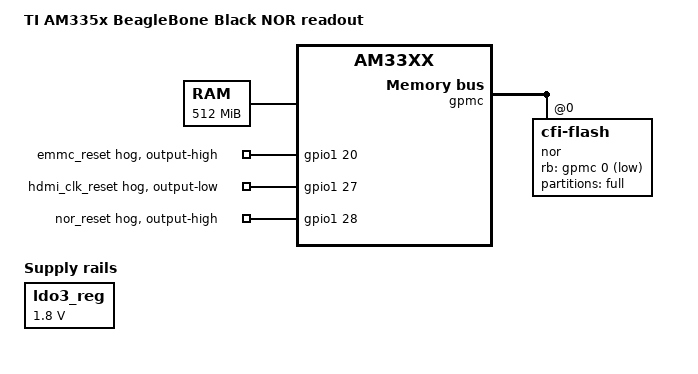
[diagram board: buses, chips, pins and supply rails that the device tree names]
// SPDX-License-Identifier: GPL-2.0-only
/*
 * Copyright (C) 2012 Texas Instruments Incorporated - https://www.ti.com/
 */
/dts-v1/;

#include "am33xx.dtsi"
#include "am335x-bone-common.dtsi"
/* #include "am335x-boneblack-common.dtsi" */
/* #include "am335x-boneblack-hdmi.dtsi" */

&ldo3_reg {
	regulator-min-microvolt = <1800000>;
	regulator-max-microvolt = <1800000>;
	regulator-always-on;
};


/ {
	model = "TI AM335x BeagleBone Black NOR readout";
	compatible = "ti,am335x-bone-black", "ti,am335x-bone", "ti,am33xx";

	memory@80000000 {
		device_type = "memory";
		reg = <0x80000000 0x20000000>; /* 512 MB */
	};
};

&cpu0_opp_table {
	/*
	 * All PG 2.0 silicon may not support 1GHz but some of the early
	 * BeagleBone Blacks have PG 2.0 silicon which is guaranteed
	 * to support 1GHz OPP so enable it for PG 2.0 on this board.
	 */
	opp-1000000000 {
		/* OPP Nitro */
		opp-supported-hw = <0x06 0x0100>;
	};
};

&gpio0 {
	gpio-line-names =
		"[mdio_data]",
		"[mdio_clk]",
		"P9_22 [spi0_sclk]",
		"P9_21 [spi0_d0]",
		"P9_18 [spi0_d1]",
		"P9_17 [spi0_cs0]",
		"[mmc0_cd]",
		"P8_42A [ecappwm0]",
		"P8_35 [lcd d12]",
		"P8_33 [lcd d13]",
		"P8_31 [lcd d14]",
		"P8_32 [lcd d15]",
		"P9_20 [i2c2_sda]",
		"P9_19 [i2c2_scl]",
		"P9_26 [uart1_rxd]",
		"P9_24 [uart1_txd]",
		"[rmii1_txd3]",
		"[rmii1_txd2]",
		"[usb0_drvvbus]",
		"[hdmi cec]",
		"P9_41B",
		"[rmii1_txd1]",
		"P8_19 [ehrpwm2a]",
		"P8_13 [ehrpwm2b]",
		"NC",
		"NC",
		"P8_14",
		"P8_17",
		"[rmii1_txd0]",
		"[rmii1_refclk]",
		"P9_11 [uart4_rxd]",
		"P9_13 [uart4_txd]";
};

&gpio1 {
	gpio-line-names =
		"P8_25 [mmc1_dat0]",
		"[mmc1_dat1]",
		"P8_5 [mmc1_dat2]",
		"P8_6 [mmc1_dat3]",
		"P8_23 [mmc1_dat4]",
		"P8_22 [mmc1_dat5]",
		"P8_3 [mmc1_dat6]",
		"P8_4 [mmc1_dat7]",
		"NC",
		"NC",
		"NC",
		"NC",
		"P8_12",
		"P8_11",
		"P8_16",
		"P8_15",
		"P9_15A",
		"P9_23",
		"P9_14 [ehrpwm1a]",
		"P9_16 [ehrpwm1b]",
		"[emmc rst]",
		"[usr0 led]",
		"[usr1 led]",
		"[usr2 led]",
		"[usr3 led]",
		"[hdmi irq]",
		"[usb vbus oc]",
		"[hdmi audio]",
		"P9_12",
		"P8_26",
		"P8_21 [emmc]",
		"P8_20 [emmc]";
};

&gpio2 {
	gpio-line-names =
		"P9_15B",
		"P8_18",
		"P8_7",
		"P8_8",
		"P8_10",
		"P8_9",
		"P8_45 [hdmi]",
		"P8_46 [hdmi]",
		"P8_43 [hdmi]",
		"P8_44 [hdmi]",
		"P8_41 [hdmi]",
		"P8_42 [hdmi]",
		"P8_39 [hdmi]",
		"P8_40 [hdmi]",
		"P8_37 [hdmi]",
		"P8_38 [hdmi]",
		"P8_36 [hdmi]",
		"P8_34 [hdmi]",
		"[rmii1_rxd3]",
		"[rmii1_rxd2]",
		"[rmii1_rxd1]",
		"[rmii1_rxd0]",
		"P8_27 [hdmi]",
		"P8_29 [hdmi]",
		"P8_28 [hdmi]",
		"P8_30 [hdmi]",
		"[mmc0_dat3]",
		"[mmc0_dat2]",
		"[mmc0_dat1]",
		"[mmc0_dat0]",
		"[mmc0_clk]",
		"[mmc0_cmd]";
};

&gpio3 {
	gpio-line-names =
		"[mii col]",
		"[mii crs]",
		"[mii rx err]",
		"[mii tx en]",
		"[mii rx dv]",
		"[i2c0 sda]",
		"[i2c0 scl]",
		"[jtag emu0]",
		"[jtag emu1]",
		"[mii tx clk]",
		"[mii rx clk]",
		"NC",
		"NC",
		"[usb vbus en]",
		"P9_31 [spi1_sclk]",
		"P9_29 [spi1_d0]",
		"P9_30 [spi1_d1]",
		"P9_28 [spi1_cs0]",
		"P9_42B [ecappwm0]",
		"P9_27",
		"P9_41A",
		"P9_25",
		"NC",
		"NC",
		"NC",
		"NC",
		"NC",
		"NC",
		"NC",
		"NC",
		"NC",
		"NC";
};

&baseboard_eeprom {
	vcc-supply = <&ldo4_reg>;
};

&mmc1 {
	status = "disabled";
};

&mmc2 {
	status = "disabled";
};

&am33xx_pinmux {
	gpmc_pins: gmpc_pins {
		pinctrl-single,pins = <
			/* hdmi pins as GPMC_A0-15 */
			AM33XX_PADCONF(AM335X_PIN_LCD_DATA0, PIN_OUTPUT, MUX_MODE1)  /* a0 - NC */
			AM33XX_PADCONF(AM335X_PIN_LCD_DATA1, PIN_OUTPUT, MUX_MODE1)
			AM33XX_PADCONF(AM335X_PIN_LCD_DATA2, PIN_OUTPUT, MUX_MODE1)
			AM33XX_PADCONF(AM335X_PIN_LCD_DATA3, PIN_OUTPUT, MUX_MODE1)
			AM33XX_PADCONF(AM335X_PIN_LCD_DATA4, PIN_OUTPUT, MUX_MODE1)
			AM33XX_PADCONF(AM335X_PIN_LCD_DATA5, PIN_OUTPUT, MUX_MODE1)
			AM33XX_PADCONF(AM335X_PIN_LCD_DATA6, PIN_OUTPUT, MUX_MODE1)
			AM33XX_PADCONF(AM335X_PIN_LCD_DATA7, PIN_OUTPUT, MUX_MODE1)  /* a7 */
			AM33XX_PADCONF(AM335X_PIN_LCD_DATA8, PIN_OUTPUT, MUX_MODE1)  /* a12 */
			AM33XX_PADCONF(AM335X_PIN_LCD_DATA9, PIN_OUTPUT, MUX_MODE1)  /* a13 */
			AM33XX_PADCONF(AM335X_PIN_LCD_DATA10, PIN_OUTPUT, MUX_MODE1) /* a14 */
			AM33XX_PADCONF(AM335X_PIN_LCD_DATA11, PIN_OUTPUT, MUX_MODE1) /* a15 */
			AM33XX_PADCONF(AM335X_PIN_LCD_DATA12, PIN_OUTPUT, MUX_MODE1) /* a16 */
			AM33XX_PADCONF(AM335X_PIN_LCD_DATA13, PIN_OUTPUT, MUX_MODE1) /* a17 */
			AM33XX_PADCONF(AM335X_PIN_LCD_DATA14, PIN_OUTPUT, MUX_MODE1) /* a18 */
			AM33XX_PADCONF(AM335X_PIN_LCD_DATA15, PIN_OUTPUT, MUX_MODE1) /* a19 */
			AM33XX_PADCONF(AM335X_PIN_LCD_VSYNC, PIN_OUTPUT, MUX_MODE1) /* a8 */
			AM33XX_PADCONF(AM335X_PIN_LCD_HSYNC, PIN_OUTPUT, MUX_MODE1) /* a9 */
			AM33XX_PADCONF(AM335X_PIN_LCD_PCLK, PIN_OUTPUT, MUX_MODE1) /* a10 */
			AM33XX_PADCONF(AM335X_PIN_LCD_AC_BIAS_EN, PIN_OUTPUT, MUX_MODE1) /* a11 */

			/* emmc-pins */
			/* AM33XX_PADCONF(AM335X_PIN_GPMC_CSN1, PIN_INPUT_PULLUP, MUX_MODE0) */ /* gpmc_csn1 */
			/* AM33XX_PADCONF(AM335X_PIN_GPMC_CSN2, PIN_INPUT_PULLUP, MUX_MODE0) */ /* gpmc_csn2 */
			AM33XX_PADCONF(AM335X_PIN_GPMC_AD0, PIN_INPUT_PULLUP, MUX_MODE0) /* gpmc_ad0 */
			AM33XX_PADCONF(AM335X_PIN_GPMC_AD1, PIN_INPUT_PULLUP, MUX_MODE0) /* gpmc_ad1 */
			AM33XX_PADCONF(AM335X_PIN_GPMC_AD2, PIN_INPUT_PULLUP, MUX_MODE0) /* gpmc_ad2 */
			AM33XX_PADCONF(AM335X_PIN_GPMC_AD3, PIN_INPUT_PULLUP, MUX_MODE0) /* gpmc_ad3 */
			AM33XX_PADCONF(AM335X_PIN_GPMC_AD4, PIN_INPUT_PULLUP, MUX_MODE0) /* gpmc_ad4 */
			AM33XX_PADCONF(AM335X_PIN_GPMC_AD5, PIN_INPUT_PULLUP, MUX_MODE0) /* gpmc_ad5 */
			AM33XX_PADCONF(AM335X_PIN_GPMC_AD6, PIN_INPUT_PULLUP, MUX_MODE0) /* gpmc_ad6 */
			AM33XX_PADCONF(AM335X_PIN_GPMC_AD7, PIN_INPUT_PULLUP, MUX_MODE0) /* gpmc_ad7 */

			/* extra pins */
			AM33XX_PADCONF(AM335X_PIN_GPMC_AD8, PIN_INPUT_PULLUP, MUX_MODE0) /* EHRPWM2A */
			AM33XX_PADCONF(AM335X_PIN_GPMC_AD9, PIN_INPUT_PULLUP, MUX_MODE0) /* EHRPWM2B */
			AM33XX_PADCONF(AM335X_PIN_GPMC_AD10, PIN_INPUT_PULLUP, MUX_MODE0) /* GPIO0_26 */
			AM33XX_PADCONF(AM335X_PIN_GPMC_AD11, PIN_INPUT_PULLUP, MUX_MODE0) /* GPIO0_27 */
			AM33XX_PADCONF(AM335X_PIN_GPMC_AD12, PIN_INPUT_PULLUP, MUX_MODE0) /* GPIO1_12 */
			AM33XX_PADCONF(AM335X_PIN_GPMC_AD13, PIN_INPUT_PULLUP, MUX_MODE0) /* GPIO1_13 */
			AM33XX_PADCONF(AM335X_PIN_GPMC_AD14, PIN_INPUT_PULLUP, MUX_MODE0) /* GPIO1_14 */
			AM33XX_PADCONF(AM335X_PIN_GPMC_AD15, PIN_INPUT_PULLUP, MUX_MODE0) /* GPIO1_15 */


			/* sdcard pins - use it as A20-A25*/
			/* AM33XX_PADCONF(AM335X_PIN_SPI0_CS1, PIN_INPUT, MUX_MODE7) */		/* spio0_cs1.gpio0_6 */
			AM33XX_PADCONF(AM335X_PIN_MMC0_DAT0, PIN_OUTPUT, MUX_MODE1) /* a23 */
			AM33XX_PADCONF(AM335X_PIN_MMC0_DAT1, PIN_OUTPUT, MUX_MODE1) /* a22 */
			AM33XX_PADCONF(AM335X_PIN_MMC0_DAT2, PIN_OUTPUT, MUX_MODE1) /* a21 */
			AM33XX_PADCONF(AM335X_PIN_MMC0_DAT3, PIN_OUTPUT, MUX_MODE1) /* a20 */
			AM33XX_PADCONF(AM335X_PIN_MMC0_CMD, PIN_OUTPUT, MUX_MODE1) /* a25 */
			AM33XX_PADCONF(AM335X_PIN_MMC0_CLK, PIN_OUTPUT, MUX_MODE1) /* a24 */

			/* A26 is missing! use a gpio for it */
			/* or take A10 in MUX_MODE4 */
			AM33XX_PADCONF(AM335X_PIN_GPMC_A10, PIN_OUTPUT, MUX_MODE4) /* a10 as a26. desolder TPS2051/U8 */

			AM33XX_PADCONF(AM335X_PIN_GPMC_WEN, PIN_OUTPUT, MUX_MODE0) /* TIMER6 */
			AM33XX_PADCONF(AM335X_PIN_GPMC_OEN_REN, PIN_OUTPUT, MUX_MODE0) /* TIMER7 */
			AM33XX_PADCONF(AM335X_PIN_GPMC_CSN0, PIN_OUTPUT, MUX_MODE0) /* GPIO1_29 */
			AM33XX_PADCONF(AM335X_PIN_GPMC_WAIT0, PIN_INPUT, MUX_MODE0) /* UART4_RXD */

			/* ensure the emmc is in reset */
			AM33XX_PADCONF(AM335X_PIN_GPMC_A4, PIN_OUTPUT_PULLUP, MUX_MODE7) /* emmc reset */
			AM33XX_PADCONF(AM335X_PIN_GPMC_A11, PIN_OUTPUT_PULLUP, MUX_MODE7) /* hdmi clk reset */
			AM33XX_PADCONF(AM335X_PIN_GPMC_BE1N, PIN_OUTPUT_PULLUP, MUX_MODE7) /* nor reset */
		>;
	};
};

&gpio1 {
	emmc_reset {
		gpio-hog;
		gpios = <20 GPIO_ACTIVE_HIGH>;
		output-high;
		line-name = "emmc_reset";
	};
	hdmi_clk_reset {
		gpio-hog;
		gpios = <27 GPIO_ACTIVE_HIGH>;
		output-low;
		line-name = "hdmi_clk_reset";
	};
	nor_reset {
		gpio-hog;
		gpios = <28 GPIO_ACTIVE_HIGH>;
		output-high;
		line-name = "nor_reset";
	};
};

&gpmc {
	compatible = "ti,am3352-gpmc";
	status = "okay";
	pinctrl-names = "default";
	pinctrl-0 = <&gpmc_pins>;

	ranges = <0 0 0x10000000 0x08000000>;	/* CS0: NOR 128M */

	nor@0,0 {
		reg = <0 0x00000000 0x08000000>;
		compatible = "cfi-flash";
		linux,mtd-name = "spansion,s29gl010p11t"; /* fixme check diff 11t vs 01t */
		bank-width = <2>;

		gpmc,device-width = <2>;
		gpmc,mux-add-data = <0>;

		gpmc,cs-on-ns = <40>;
		gpmc,cs-rd-off-ns = <160>;
		gpmc,cs-wr-off-ns = <160>;
		gpmc,adv-on-ns = <40>;
		gpmc,adv-rd-off-ns = <40>;
		gpmc,adv-wr-off-ns = <40>;
		gpmc,oe-on-ns = <160>;
		gpmc,oe-off-ns = <160>;
		gpmc,we-on-ns = <160>;
		gpmc,we-off-ns = <160>;
		gpmc,rd-cycle-ns = <160>;
		gpmc,wr-cycle-ns = <160>;
		gpmc,access-ns = <160>;
		gpmc,page-burst-access-ns = <40>;
		gpmc,cycle2cycle-samecsen;
		gpmc,cycle2cycle-delay-ns = <40>;
		gpmc,wr-data-mux-bus-ns = <140>;
		gpmc,wr-access-ns = <160>;

		rb-gpios = <&gpmc 0 GPIO_ACTIVE_LOW>; /* gpmc_wait0 pin */

		#address-cells = <1>;
		#size-cells = <1>;

		partition@0 {
			label = "full";
			reg = <0x00000000 0x8000000>; /* 128 MByte */
			read-only;
		};
	};
};
